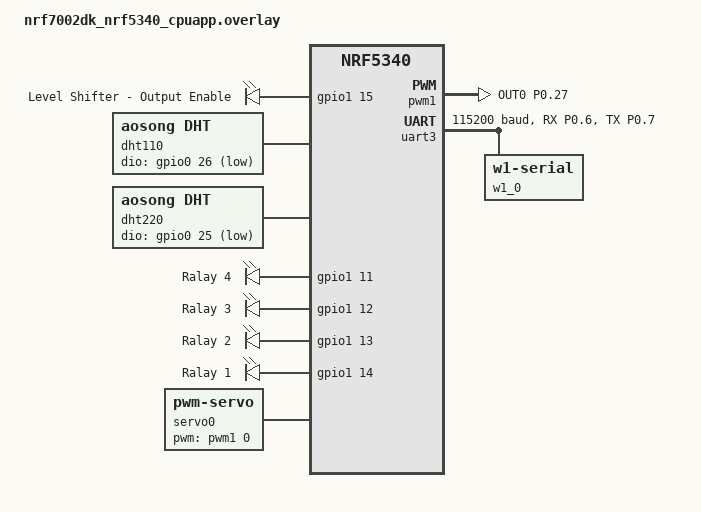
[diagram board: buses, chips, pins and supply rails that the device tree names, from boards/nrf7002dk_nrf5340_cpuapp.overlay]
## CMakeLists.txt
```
#
# Copyright (c) 2021 Nordic Semiconductor ASA
#
# SPDX-License-Identifier: LicenseRef-Nordic-5-Clause
#

cmake_minimum_required(VERSION 3.20.0)

get_filename_component(MATTER_MODULE_ROOT $ENV{ZEPHYR_BASE}/../modules/lib/matter REALPATH)

# Set Kconfig root files that will be processed as a first Kconfig for used child images.
set(mcuboot_KCONFIG_ROOT ${MATTER_MODULE_ROOT}/config/nrfconnect/chip-module/Kconfig.mcuboot.root)
set(multiprotocol_rpmsg_KCONFIG_ROOT ${MATTER_MODULE_ROOT}/config/nrfconnect/chip-module/Kconfig.multiprotocol_rpmsg.root)
set(hci_rpmsg_KCONFIG_ROOT ${MATTER_MODULE_ROOT}/config/nrfconnect/chip-module/Kconfig.hci_rpmsg.root)

# For prj.conf the CONF_FILE is empty. In other case extract the exact file name from the path string.
if(CONF_FILE)
    get_filename_component(CONFIG_FILE_NAME ${CONF_FILE} NAME)
endif()

if(NOT CONFIG_FILE_NAME STREQUAL "prj_no_dfu.conf")
    set(PM_STATIC_YML_FILE ${CMAKE_CURRENT_SOURCE_DIR}/configuration/${BOARD}/pm_static_dfu.yml)
endif()

find_package(Zephyr HINTS $ENV{ZEPHYR_BASE})

project(matter-template)

set(COMMON_ROOT ${ZEPHYR_NRF_MODULE_DIR}/samples/matter/common)
set(NLIO_ROOT ${MATTER_MODULE_ROOT}/third_party/nlio/repo)
include(${MATTER_MODULE_ROOT}/config/nrfconnect/app/enable-gnu-std.cmake)
include(${MATTER_MODULE_ROOT}/src/app/chip_data_model.cmake)

# NORDIC SDK APP START
target_include_directories(app PRIVATE
    src
    ${COMMON_ROOT}/src
    ${NLIO_ROOT}/include
    ${MATTER_MODULE_ROOT}/zzz_generated/app-common
)

target_sources(app PRIVATE
    src/app_task.cpp
    src/main.cpp
    src/zap-generated/IMClusterCommandHandler.cpp
    src/zap-generated/callback-stub.cpp
    ${COMMON_ROOT}/src/led_widget.cpp
    src/zcl_callbacks.cpp
)

if(CONFIG_CHIP_OTA_REQUESTOR)
    target_sources(app PRIVATE ${COMMON_ROOT}/src/ota_util.cpp)
endif()

chip_configure_data_model(app
    INCLUDE_SERVER
    BYPASS_IDL
    GEN_DIR src/zap-generated
    ZAP_FILE ${CMAKE_CURRENT_SOURCE_DIR}/src/template.zap
)
# NORDIC SDK APP END
```

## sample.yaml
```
sample:
  description: Matter Template sample
  name: Matter Template
tests:
  # Excluded in quarantine.yaml to limit resources usage in integration builds
  sample.matter.template.release:
    build_only: true
    extra_args: CONF_FILE=prj_release.conf
    integration_platforms:
      - nrf52840dk_nrf52840
      - nrf5340dk_nrf5340_cpuapp
      - nrf7002dk_nrf5340_cpuapp
    platform_allow: nrf52840dk_nrf52840 nrf5340dk_nrf5340_cpuapp nrf7002dk_nrf5340_cpuapp
  sample.matter.template.no_dfu:
    build_only: true
    extra_args: CONF_FILE=prj_no_dfu.conf
    integration_platforms:
      - nrf21540dk_nrf52840
    platform_allow: >
      nrf52840dk_nrf52840 nrf21540dk_nrf52840 nrf5340dk_nrf5340_cpuapp nrf7002dk_nrf5340_cpuapp
  sample.matter.template.debug:
    build_only: true
    integration_platforms:
      - nrf5340dk_nrf5340_cpuapp
      - nrf7002dk_nrf5340_cpuapp
    platform_allow: nrf52840dk_nrf52840 nrf5340dk_nrf5340_cpuapp nrf7002dk_nrf5340_cpuapp
  sample.sensor.dht:
    build_only: true
    integration_platforms:
      - nrf7002dk_nrf5340_cpuapp
    platform_allow:
      - nrf7002dk_nrf5340_cpuapp
    tags: sensors
```

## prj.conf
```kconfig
#
# Copyright (c) 2021 Nordic Semiconductor ASA
#
# SPDX-License-Identifier: LicenseRef-Nordic-5-Clause
#

# This sample uses Kconfig.defaults to set options common for all
# samples. This file should contain only options specific for this sample
# or overrides of default values.

# Enable CHIP
CONFIG_CHIP=y
CONFIG_CHIP_ENABLE_PAIRING_AUTOSTART=y
CONFIG_CHIP_PROJECT_CONFIG="src/chip_project_config.h"
# 32768 == 0x8000 (example Product ID added temporaly,
# but it must be changed with proper PID from the list:
# https://github.com/project-chip/connectedhomeip/blob/482e6fd03196a6de45465a90003947ef4b86e0b1/docs/examples/discussion/PID_allocation_for_example_apps.md)
CONFIG_CHIP_DEVICE_PRODUCT_ID=32768
CONFIG_STD_CPP14=y

# Add support for LEDs and buttons on Nordic development kits
CONFIG_DK_LIBRARY=y

# Bluetooth Low Energy configuration
CONFIG_BT_DEVICE_NAME="MatterTemplate"

# Other settings
CONFIG_THREAD_NAME=y
CONFIG_MPU_STACK_GUARD=y
CONFIG_RESET_ON_FATAL_ERROR=n
CONFIG_CHIP_LIB_SHELL=y

# Disable NFC commissioning
CONFIG_CHIP_NFC_COMMISSIONING=n

# Reduce application size
CONFIG_USE_SEGGER_RTT=n

# Various
CONFIG_LOG=y

# Connected Hardware
CONFIG_GPIO=y

# Sensors
CONFIG_SENSOR=y
CONFIG_W1=y
CONFIG_SENSOR_LOG_LEVEL_DBG=y

# Feeder
CONFIG_PWM=y

# Need float format support
CONFIG_CBPRINTF_FP_SUPPORT=y
```

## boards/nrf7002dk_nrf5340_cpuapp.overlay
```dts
/*
 * Copyright (c) 2021 Nordic Semiconductor ASA
 *
 * SPDX-License-Identifier: LicenseRef-Nordic-5-Clause
 */

#include <zephyr/dt-bindings/ipc_service/static_vrings.h>

/ {
	chosen {
		nordic,pm-ext-flash = &mx25r64;
	};

	aliases {
		level-shifter1 = &level_shifter1;
		relay1 = &relay_1;
		relay2 = &relay_2;
		relay3 = &relay_3;
		relay4 = &relay_4;
		dht11 = &dht110;
		dht22 = &dht220;
		ds18b20 = &ds18b200;
		servo = &servo0;
	};

	level_shifters {
        compatible = "gpio-leds";
        level_shifter1: level_shifter_1 {
            status = "okay";
			gpios = <&gpio1 15 GPIO_ACTIVE_HIGH>;
            label = "Level Shifter - Output Enable";
        };
    };

	dht110: dht11_0 {
		compatible = "aosong,dht";
		status = "okay";
		dio-gpios = <&gpio0 26 (GPIO_PULL_UP | GPIO_ACTIVE_LOW)>;
	};
    
    dht220: dht22_0 {
        compatible = "aosong,dht";
        status = "okay";
		dio-gpios = <&gpio0 25 (GPIO_PULL_UP | GPIO_ACTIVE_LOW)>;
        dht22;
    };

	relays {
        compatible = "gpio-leds";
        relay_4: relay_04 {
            status = "okay";
            gpios = <&gpio1 11 GPIO_ACTIVE_HIGH>;
            label = "Ralay 4";
        };
        relay_3: relay_03 {
            status = "okay";
            gpios = <&gpio1 12 GPIO_ACTIVE_HIGH>;
            label = "Ralay 3";
        };
        relay_2: relay_02 {
            status = "okay";
            gpios = <&gpio1 13 GPIO_ACTIVE_HIGH>;
            label = "Ralay 2";
        };
        relay_1: relay_01 {
            status = "okay";
            gpios = <&gpio1 14 GPIO_ACTIVE_HIGH>;
            label = "Ralay 1";
        };
	};

	servo0: servo_0 {
		compatible = "pwm-servo";
		pwms = <&pwm1 0 PWM_MSEC(20) PWM_POLARITY_NORMAL>;
		min-pulse = <PWM_USEC(1000)>;
		max-pulse = <PWM_USEC(1390)>;
	};
};

/* Set IPC thread priority to the highest value to not collide with other threads. */
&ipc0 {
    zephyr,priority = <0 PRIO_COOP>;
};

&pwm1 {
	status = "okay";
	pinctrl-0 = <&pwm1_default_alt>;
	pinctrl-1 = <&pwm1_sleep_alt>;
	pinctrl-names = "default", "sleep";
};

&uart3 {
    status = "okay";
    current-speed = <115200>;
    pinctrl-0 = <&uart3_default_alt>;
    pinctrl-1 = <&uart3_sleep_alt>;
    pinctrl-names = "default", "sleep";
    w1_0: w1-zephyr-serial-0 {
        compatible = "zephyr,w1-serial";
        status = "okay";
		ds18b200: ds18b20_0 {
			compatible = "maxim,ds18b20";
			family-code = <0x28>;
			resolution = <12>;
			status = "okay";
		};
    };
};

&pinctrl {
	pwm1_default_alt: pwm1_default_alt {
		group1 {
			psels = <NRF_PSEL(PWM_OUT0, 0, 27)>;
		};
	};

	pwm1_sleep_alt: pwm1_sleep_alt {
		group1 {
			psels = <NRF_PSEL(PWM_OUT0, 0, 27)>;
			low-power-enable;
		};
	};

	uart3_default_alt: uart3_default_alt {
        group1 {
            psels = <NRF_PSEL(UART_RX, 0, 6)>;
            bias-pull-up;
        };
        group2 {
            psels = <NRF_PSEL(UART_TX, 0, 7)>;
            nordic,drive-mode = <NRF_DRIVE_H0D1>;
        };
    };

	uart3_sleep_alt: uart3_sleep_alt {
        group1 {
            psels = <NRF_PSEL(UART_RX, 0, 6)>;
            low-power-enable;
        };
		group2 {
            psels = <NRF_PSEL(UART_TX, 0, 7)>;
            low-power-enable;
        };
    };
};
```

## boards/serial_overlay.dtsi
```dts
/*
 * Copyright (c) 2022 Thomas Stranger
 *
 * SPDX-License-Identifier: Apache-2.0
 */

 &arduino_serial {
	status = "okay";

	w1_0: w1-zephyr-serial-0 {
		compatible = "zephyr,w1-serial";
		#address-cells = <1>;
		#size-cells = <0>;
		status = "okay";

		ds18b20 {
			compatible = "maxim,ds18b20";
			family-code = <0x28>;
			resolution = <12>;
			status = "okay";
		};
	};
};
```

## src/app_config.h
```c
/*
 * Copyright (c) 2022 Nordic Semiconductor ASA
 *
 * SPDX-License-Identifier: LicenseRef-Nordic-5-Clause
 */

#pragma once

/* ---- Template App Config ---- */

#include "board_util.h"

#define FUNCTION_BUTTON DK_BTN1
#define FUNCTION_BUTTON_MASK DK_BTN1_MSK

#define SYSTEM_STATE_LED DK_LED1
#define FACTORY_RESET_SIGNAL_LED DK_LED1
#define LIGHTING_STATE_LED DK_LED2

#if NUMBER_OF_LEDS == 4
#define FACTORY_RESET_SIGNAL_LED1 DK_LED3
#define FACTORY_RESET_SIGNAL_LED2 DK_LED4
#endif
```

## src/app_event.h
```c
/*
 * Copyright (c) 2021 Nordic Semiconductor ASA
 *
 * SPDX-License-Identifier: LicenseRef-Nordic-5-Clause
 */

#pragma once

#include <cstdint>

#include "event_types.h"

class LEDWidget;

enum class AppEventType : uint8_t { 
	None = 0, 
	Button, 
	ButtonPushed, 
	ButtonReleased, 
	Timer, 
	UpdateLedState, 
	LightingLedActivate, 
	LightingLedDeactivate, 
	HotLampActivate, 
	HotLampDeactivate, 
	UvbLampActivate, 
	UvbLampDeactivate, 
	HeaterActivate, 
	HeaterDeactivate, 
	FilterActivate, 
	FilterDeactivate, 
	FeederActivate, 
	FeederDeactivate, 
	HotSensorMeasure, 
	ColdSensorMeasure, 
	WaterTempSensorMeasure, 
};

enum class FunctionEvent : uint8_t { NoneSelected = 0, FactoryReset };

struct AppEvent {
	union {
		struct {
			uint8_t PinNo;
			uint8_t Action;
		} ButtonEvent;
		struct {
			void *Context;
		} TimerEvent;
		struct {
			LEDWidget *LedWidget;
		} UpdateLedStateEvent;
	};

	AppEventType Type{ AppEventType::None };
	EventHandler Handler;
};
```

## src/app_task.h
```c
/*
 * Copyright (c) 2021 Nordic Semiconductor ASA
 *
 * SPDX-License-Identifier: LicenseRef-Nordic-5-Clause
 */



/* ****************************************************************************
 *
 *  SENSORS MANAGEMENT - app_task.cpp
 * 
 * sSensorTimer: 2 second periodic software timer that trigger the events
 *               hot_ev, cold_ev and water_ev, which do the fetch of 
 *               corresponding sensor
 * 
 * hot_ev: app event that trigger the HotSensorMeasureHandler
 * cold_ev: app event that trigger the ColdSensorMeasureHandler
 * water_ev: app event that trigger the WaterTempSensorMeasureHandler
 *
 * HotSensorMeasureHandler: fetch the Hot-Spot sensor and update the endpoints
 *                          with temperature and humidity values
 * 
 * ColdSensorMeasureHandler: fetch the Cold-Zone sensor and update the relative
 *                           endpoints with temperature and humidity values
 * 
 * WaterTempSensorMeasureHandler: fetch the Water sensor and update the relative
 *                                endpoint with temperature value
 *  
 * ***************************************************************************/



/* ****************************************************************************
 *
 *  ACTUATORS MANAGEMENT - app_task.cpp
 * 
 * sFeederMonoTimer: software timer for monostable monostable actuation 
 *                   of the feeder
 * 
 * feeder_ev: event to internally trigger the FeederDeactivateHandler
 * 
 * FeederMonoTimerHandler: launch the feeder_ev event
 *  
 * HotLampActivateHandler: turn the hot amp On
 * HotLampDeactivateHandler: turn the hot lamp Off
 * 
 * UvbLampActivateHandler: turn the uvb lamp On
 * UvbLampDeactivateHandler: turn the uvb lamp Off
 * 
 * HeaterActivateHandler: turn the water heater On
 * HeaterDeactivateHandler: turn the water heater Off
 * 
 * FilterActivateHandler: turn the filter pump On
 * FilterDeactivateHandler: turn the filter pump Off
 * 
 * FeederActivateHandler: turn the feeder pwm-servo On
 * FeederDeactivateHandler: turn the feeder pwm-servo Off
 * 
 * ***************************************************************************/



/* ****************************************************************************
 *
 *  MATTER COMMANDS LISTNER - zcl_callbacks.cpp
 * 
 * MatterPostAttributeChangeCallback: callback of matter command is received
 * 
 * ***************************************************************************/



#pragma once

#include "app_event.h"
#include "led_widget.h"

#include <platform/CHIPDeviceLayer.h>

#if CONFIG_CHIP_FACTORY_DATA
#include <platform/nrfconnect/FactoryDataProvider.h>
#else
#include <platform/nrfconnect/DeviceInstanceInfoProviderImpl.h>
#endif

//using namespace ::chip;
//using namespace ::chip::app::Clusters;

struct k_timer;

class AppTask {
public:
        static AppTask &Instance()
        {
                static AppTask sAppTask;
                return sAppTask;
        };

        CHIP_ERROR StartApp();
        void UpdateClusterState();
        static void PostEvent(const AppEvent &event);

        static void LightingLedActivateHandler(const AppEvent &);
        static void LightingLedDeactivateHandler(const AppEvent &);

        static void HotSensorMeasureHandler(const AppEvent &);
        static void ColdSensorMeasureHandler(const AppEvent &);
        static void WaterTempSensorMeasureHandler(const AppEvent &);

        static void HotLampActivateHandler(const AppEvent &);
        static void HotLampDeactivateHandler(const AppEvent &);
        static void UvbLampActivateHandler(const AppEvent &);
        static void UvbLampDeactivateHandler(const AppEvent &);
        static void HeaterActivateHandler(const AppEvent &);
        static void HeaterDeactivateHandler(const AppEvent &);
        static void FilterActivateHandler(const AppEvent &);
        static void FilterDeactivateHandler(const AppEvent &);
        static void FeederActivateHandler(const AppEvent &);
        static void FeederDeactivateHandler(const AppEvent &);

private:
        CHIP_ERROR Init();

        void CancelTimer();
        void StartTimer(uint32_t timeoutInMs);

        static void DispatchEvent(const AppEvent &event);
        static void UpdateLedStateEventHandler(const AppEvent &event);
        static void FunctionHandler(const AppEvent &event);
        static void FunctionTimerEventHandler(const AppEvent &event);

        static void ChipEventHandler(const chip::DeviceLayer::ChipDeviceEvent *event, intptr_t arg);
        static void ButtonEventHandler(uint32_t buttonState, uint32_t hasChanged);
        static void LEDStateUpdateHandler(LEDWidget &ledWidget);
        static void FunctionTimerTimeoutCallback(k_timer *timer);
        static void UpdateStatusLED();

        FunctionEvent mFunction = FunctionEvent::NoneSelected;
        bool mFunctionTimerActive = false;

        bool mLightingLedState = false;
        bool mHoltLampState = false;
        bool mUvbLampState = false;
        bool mHeaterState = false;
        bool mFilterState = false;
        bool mFeederState = false;

#if CONFIG_CHIP_FACTORY_DATA
        chip::DeviceLayer::FactoryDataProvider<chip::DeviceLayer::InternalFlashFactoryData> mFactoryDataProvider;
#endif
};
```

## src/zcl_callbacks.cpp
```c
/*
 * Copyright (c) 2021 Nordic Semiconductor ASA
 *
 * SPDX-License-Identifier: LicenseRef-Nordic-5-Clause
 */

#include <lib/support/logging/CHIPLogging.h>

#include "app_task.h"

#include <app-common/zap-generated/attributes/Accessors.h>
#include <app-common/zap-generated/ids/Attributes.h>
#include <app-common/zap-generated/ids/Clusters.h>
#include <app/ConcreteAttributePath.h>

using namespace ::chip;
using namespace ::chip::app::Clusters;
using namespace ::chip::app::Clusters::OnOff;

/* MATTER COMMANDS LISTENER */
void MatterPostAttributeChangeCallback(const chip::app::ConcreteAttributePath & attributePath, uint8_t type,
                                       uint16_t size, uint8_t * value)
{
        AppEvent event;

        /* DK LED */
        /* Verify if the command receiver is for the endpoint 2 */
        if (attributePath.mEndpointId == 1) {
                /* Verify if the command receiver is managed [On/Off] */
                if (attributePath.mClusterId != OnOff::Id || attributePath.mAttributeId != OnOff::Attributes::OnOff::Id)
                        return;
                /* In case of On command turn on the DK led2 */
                if (*value) {
                        event.Type = AppEventType::LightingLedActivate;
                        event.Handler = AppTask::LightingLedActivateHandler;
                } 
                /* In case of Off command turn off the DK led2 */
                else {
                        event.Type = AppEventType::LightingLedDeactivate;
                        event.Handler = AppTask::LightingLedDeactivateHandler;
                }
        }
        /* HOT-LAMP */
        /* Verify if the command receiver is for the endpoint 2 */
        else if (attributePath.mEndpointId == 2) {
                /* Verify if the command receiver is managed [On/Off] */
                if (attributePath.mClusterId != OnOff::Id || attributePath.mAttributeId != OnOff::Attributes::OnOff::Id)
                        return;
                /* In case of On command turn on the hot lamp */
                if (*value) {
                        event.Type = AppEventType::HotLampActivate;
                        event.Handler = AppTask::HotLampActivateHandler;
                } 
                /* In case of Off command turn off the hot lamp */
                else {
                        event.Type = AppEventType::HotLampDeactivate;
                        event.Handler = AppTask::HotLampDeactivateHandler;
                }
        }
        /* UVB LAMP */
        /* Verify if the command receiver is for the endpoint 3 */
        else if (attributePath.mEndpointId == 3) {
                /* Verify if the command receiver is managed [On/Off] */
                if (attributePath.mClusterId != OnOff::Id || attributePath.mAttributeId != OnOff::Attributes::OnOff::Id)
                        return;
                // In case of On command turn on the uvb lamp
                if (*value) {
                        event.Type = AppEventType::UvbLampActivate;
                        event.Handler = AppTask::UvbLampActivateHandler;
                } 
                /* In case of On command turn on the uvb lamp */
                else {
                        event.Type = AppEventType::UvbLampDeactivate;
                        event.Handler = AppTask::UvbLampDeactivateHandler;
                }
        }

        /* HEATER */
        /* Verify if the command receiver is for the endpoint 4 */
        else if (attributePath.mEndpointId == 4) {
                /* Verify if the command receiver is managed [On/Off] */
                if (attributePath.mClusterId != OnOff::Id || attributePath.mAttributeId != OnOff::Attributes::OnOff::Id)
                        return;
                /* In case of On command turn on the water heater */
                if (*value) {
                        event.Type = AppEventType::HeaterActivate;
                        event.Handler = AppTask::HeaterActivateHandler;
                } 
                /* In case of Off command turn off the water heater */
                else {
                        event.Type = AppEventType::HeaterDeactivate;
                        event.Handler = AppTask::HeaterDeactivateHandler;
                }
        }
        /* FILTER */
        /* Verify if the command receiver is for the endpoint 5 */
        else if (attributePath.mEndpointId == 5) {
                /* Verify if the command receiver is managed [On/Off] */
                if (attributePath.mClusterId != OnOff::Id || attributePath.mAttributeId != OnOff::Attributes::OnOff::Id)
                        return;
                /* In case of On command turn on the water filter pump */
                if (*value) {
                        event.Type = AppEventType::FilterActivate;
                        event.Handler = AppTask::FilterActivateHandler;
                } 
                /* In case of Off command turn off the water filter pump */
                else {
                        event.Type = AppEventType::FilterDeactivate;
                        event.Handler = AppTask::FilterDeactivateHandler;
                }
        }
        /* FEEDER */
        /* Verify if the command receiver is for the endpoint 5 */
        else if (attributePath.mEndpointId == 6) {
                /* Verify if the command receiver is managed [On/Off] */
                if (attributePath.mClusterId != OnOff::Id || attributePath.mAttributeId != OnOff::Attributes::OnOff::Id)
                        return;
                /* In case of On command turn on the automatic feeder */
                if (*value) {
                        event.Type = AppEventType::FeederActivate;
                        event.Handler = AppTask::FeederActivateHandler;
                } 
                /* In case of Off command turn off the automatic feeder */
                else {
                        event.Type = AppEventType::FeederDeactivate;
                        event.Handler = AppTask::FeederDeactivateHandler;
                }
        }
        
        AppTask::Instance().PostEvent(event);
}

/** @brief OnOff Cluster Init
 *
 * This function is called when a specific cluster is initialized. It gives the
 * application an opportunity to take care of cluster initialization procedures.
 * It is called exactly once for each endpoint where cluster is present.
 *
 * @param endpoint   Ver.: always
 *
 * TODO Issue #3841
 * emberAfOnOffClusterInitCallback happens before the stack initialize the cluster
 * attributes to the default value.
 * The logic here expects something similar to the deprecated Plugins callback
 * emberAfPluginOnOffClusterServerPostInitCallback.
 *
 */
void emberAfOnOffClusterInitCallback(EndpointId endpoint)
{
        AppEvent event;
	EmberAfStatus status;
	bool storedValue;

        /* DK LED */
        if (endpoint == 1) {
                /* Read storedValue on/off value */
                status = Attributes::OnOff::Get(endpoint, &storedValue);
                if (status == EMBER_ZCL_STATUS_SUCCESS) {
                        /* Set actual state to the cluster state that was last persisted */
                        if (storedValue) {
                                event.Type = AppEventType::LightingLedActivate;
                                event.Handler = AppTask::LightingLedActivateHandler;
                        } else {
                                event.Type = AppEventType::LightingLedDeactivate;
                                event.Handler = AppTask::LightingLedDeactivateHandler;
                        }
                }
        }
        /* HOT LAMP */
        else if (endpoint == 2) {
                /* Read storedValue on/off value */
                status = Attributes::OnOff::Get(endpoint, &storedValue);
                if (status == EMBER_ZCL_STATUS_SUCCESS) {
                        /* Set actual state to the cluster state that was last persisted */
                        if (storedValue) {
                                event.Type = AppEventType::HotLampActivate;
                                event.Handler = AppTask::HotLampActivateHandler;
                        } else {
                                event.Type = AppEventType::HotLampDeactivate;
                                event.Handler = AppTask::HotLampDeactivateHandler;
                        }
                }
        }
        /* UVB LAMP */
        else if (endpoint == 3) {
                /* Read storedValue on/off value */
                status = Attributes::OnOff::Get(endpoint, &storedValue);
                if (status == EMBER_ZCL_STATUS_SUCCESS) {
                        /* Set actual state to the cluster state that was last persisted */
                        if (storedValue) {
                                event.Type = AppEventType::UvbLampActivate;
                                event.Handler = AppTask::UvbLampActivateHandler;
                        } else {
                                event.Type = AppEventType::UvbLampDeactivate;
                                event.Handler = AppTask::UvbLampDeactivateHandler;
                        }
                }
        }
        /* WATER HEATER */
        else if (endpoint == 4) {
                /* Read storedValue on/off value */
                status = Attributes::OnOff::Get(endpoint, &storedValue);
                if (status == EMBER_ZCL_STATUS_SUCCESS) {
                        /* Set actual state to the cluster state that was last persisted */
                        if (storedValue) {
                                event.Type = AppEventType::HeaterActivate;
                                event.Handler = AppTask::HeaterActivateHandler;
                        } else {
                                event.Type = AppEventType::HeaterDeactivate;
                                event.Handler = AppTask::HeaterDeactivateHandler;
                        }
                }
        }
        /* WATER FILTER PUMP */
        else if (endpoint == 5) {
                /* Read storedValue on/off value */
                status = Attributes::OnOff::Get(endpoint, &storedValue);
                if (status == EMBER_ZCL_STATUS_SUCCESS) {
                        /* Set actual state to the cluster state that was last persisted */
                        if (storedValue) {
                                event.Type = AppEventType::FilterActivate;
                                event.Handler = AppTask::FilterActivateHandler;
                        } else {
                                event.Type = AppEventType::FilterDeactivate;
                                event.Handler = AppTask::FilterDeactivateHandler;
                        }
                }
        }
        /* FEEDER */
        else if (endpoint == 6) {
                /* Read storedValue on/off value */
                status = Attributes::OnOff::Get(endpoint, &storedValue);
                if (status == EMBER_ZCL_STATUS_SUCCESS) {
                        /* Set actual state to the cluster state that was last persisted */
                        if (storedValue) {
                                event.Type = AppEventType::FeederActivate;
                                event.Handler = AppTask::FeederActivateHandler;
                        } else {
                                event.Type = AppEventType::FeederDeactivate;
                                event.Handler = AppTask::FeederDeactivateHandler;
                        }
                }
        }

        AppTask::Instance().PostEvent(event);
        AppTask::Instance().UpdateClusterState();
}
```
